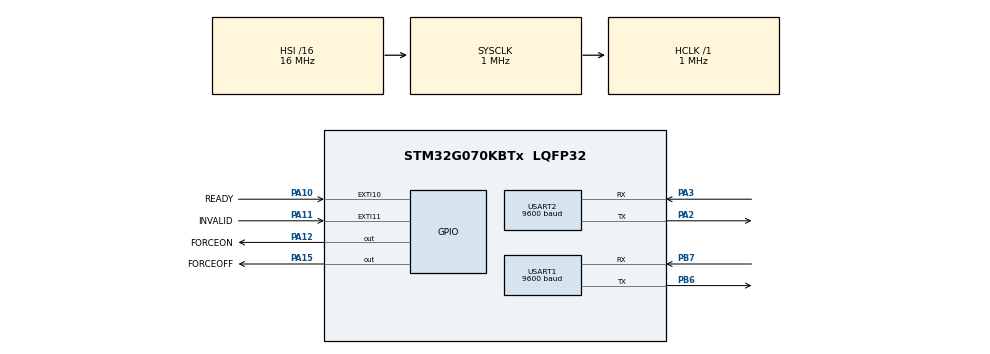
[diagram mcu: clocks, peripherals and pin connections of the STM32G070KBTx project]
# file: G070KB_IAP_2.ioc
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Mcu.Family=STM32G0
USART2.RXFIFOThreshold=RXFIFO_THRESHOLD_1EIGHTHFULL
RCC.CortexFreq_Value=1000000
PA11\ [PA9].GPIO_Label=INVALID
USART1.BaudRate=9600
PA12\ [PA10].GPIO_Label=FORCEON
USART1.WordLength=WORDLENGTH_8B
USART2.Parity=PARITY_NONE
PA14-BOOT0.Mode=Serial_Wire
RCC.EXTERNAL_CLOCK_VALUE=48000
USART2.BaudRate=9600
ProjectManager.StackSize=0x400
USART1.VirtualMode-Asynchronous=VM_ASYNC
PA3.Mode=Asynchronous
PA13.Signal=SYS_SWDIO
CRC.DefaultPolynomialUse=DEFAULT_POLYNOMIAL_DISABLE
PA15.GPIO_Label=FORCEOFF
USART1.StopBits=STOPBITS_1
ProjectManager.TargetToolchain=STM32CubeIDE
RCC.HCLKFreq_Value=1000000
PA12\ [PA10].Signal=GPIO_Output
USART1.Parity=PARITY_NONE
PB6.Signal=USART1_TX
PB6.Mode=Asynchronous
RCC.LSE_VALUE=32768
RCC.AHBFreq_Value=1000000
PA14-BOOT0.Signal=SYS_SWCLK
RCC.HSE_VALUE=8000000
board=custom
USART2.VirtualMode-Asynchronous=VM_ASYNC
RCC.VCOOutputFreq_Value=128000000
PA15.PinState=GPIO_PIN_RESET
USART2.StopBits=STOPBITS_1
RCC.ADCFreq_Value=1000000
PA10.GPIO_Label=READY
VP_SYS_VS_DBSignals.Mode=DisableDeadBatterySignals
PB7.Signal=USART1_RX
PA13.Mode=Serial_Wire
Mcu.Name=STM32G070KBTx
PA11\ [PA9].Signal=GPXTI11
PA2.Signal=USART2_TX
USART2.FIFOMode=FIFOMODE_DISABLE
RCC.SYSCLKFreq_VALUE=1000000
Mcu.Package=LQFP32
CRC.DefaultInitValueUse=DEFAULT_INIT_VALUE_DISABLE
PA12\ [PA10].PinState=GPIO_PIN_RESET
PB7.Mode=Asynchronous
PA10.Signal=GPXTI10
PA15.Signal=GPIO_Output
ProjectManager.HeapSize=0x200
USART2.WordLength=WORDLENGTH_8B
RCC.HSI_VALUE=16000000
PA2.Mode=Asynchronous
VP_CRC_VS_CRC.Mode=CRC_Activate
RCC.HSISYSCLKDivider=RCC_HSI_DIV16
PA3.Signal=USART2_RX
CRC.CRCLength=CRC_POLYLENGTH_16B

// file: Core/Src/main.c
/* USER CODE BEGIN Header */
/**
  ******************************************************************************
  * @file           : main.c
  * @brief          : Main program body
  ******************************************************************************
  * @attention
  *
  * <h2><center>&copy; Copyright (c) 2020 STMicroelectronics.
  * All rights reserved.</center></h2>
  *
  * This software component is licensed by ST under BSD 3-Clause license,
  * the "License"; You may not use this file except in compliance with the
  * License. You may obtain a copy of the License at:
  *                        opensource.org/licenses/BSD-3-Clause
  *
  ******************************************************************************
  */
/* USER CODE END Header */
#include "main.h"

/* USER CODE BEGIN Includes */
#include "common.h"
#include "flash_if.h"
#include "menu.h"
#include "ymodem.h"
#include "stdio.h"
/* USER CODE END Includes */

/* USER CODE BEGIN PTD */
  const volatile uint8_t *userConfig=(const volatile uint8_t *)0x08008000;
  uint64_t fdata=0;
/* USER CODE END PTD */

/* USER CODE BEGIN PD */
#define CRC_POLYNOMIAL_8B  0x9B   /* X^8 + X^7 + X^4 + X^3 + X + 1 */
#define CRC_POLYNOMIAL_16B 0x1021 /* X^16 + X^12 + X^5 + 1 */
/* USER CODE END PD */

CRC_HandleTypeDef hcrc;

UART_HandleTypeDef huart1;
UART_HandleTypeDef huart2;

void SystemClock_Config(void);
static void MX_GPIO_Init(void);
static void MX_USART1_UART_Init(void);
static void MX_USART2_UART_Init(void);
static void MX_CRC_Init(void);

/* USER CODE BEGIN 0 */
void flash_write(uint32_t Raddress, uint64_t data)
{
	HAL_FLASH_Unlock();
    HAL_FLASH_Program(TYPEPROGRAM_DOUBLEWORD, Raddress , (uint64_t)data);
    HAL_FLASH_Lock();
}

void flash_page_erase(uint32_t page)
{

	HAL_StatusTypeDef test = HAL_FLASH_Unlock();

	test = FLASH_WaitForLastOperation(1000); //1s timeout
	__HAL_FLASH_CLEAR_FLAG(FLASH_FLAG_EOP | FLASH_FLAG_WRPERR | FLASH_FLAG_PGAERR);
	FLASH_PageErase(0U,page);
	test = FLASH_WaitForLastOperation(1000);
	CLEAR_BIT(FLASH->CR, FLASH_CR_PER);

	HAL_FLASH_Lock();
}

static void MX_CRC_Init2(void)
{

  /* USER CODE BEGIN CRC_Init 0 */

  /* USER CODE END CRC_Init 0 */

  /* USER CODE BEGIN CRC_Init 1 */

  /* USER CODE END CRC_Init 1 */
  hcrc.Instance = CRC;
  hcrc.Init.DefaultPolynomialUse = DEFAULT_POLYNOMIAL_DISABLE;
  hcrc.Init.DefaultInitValueUse = DEFAULT_INIT_VALUE_DISABLE;
  hcrc.Init.GeneratingPolynomial = 0x1021;
  hcrc.Init.CRCLength = CRC_POLYLENGTH_16B;
  hcrc.Init.InitValue = 0;
  hcrc.Init.InputDataInversionMode = CRC_INPUTDATA_INVERSION_NONE;
  hcrc.Init.OutputDataInversionMode = CRC_OUTPUTDATA_INVERSION_DISABLE;
  hcrc.InputDataFormat = CRC_INPUTDATA_FORMAT_BYTES;
  if (HAL_CRC_Init(&hcrc) != HAL_OK)
  {
    Error_Handler();
  }
  /* USER CODE BEGIN CRC_Init 2 */

  /* USER CODE END CRC_Init 2 */

}

/* USER CODE END 0 */

int main(void)
{

  /* MCU Configuration--------------------------------------------------------*/

  /* Reset of all peripherals, Initializes the Flash interface and the Systick. */
  HAL_Init();

  /* USER CODE BEGIN Init */
  HAL_Delay(500);	//delay 0.5 second reset all hardware again
  HAL_Init();		//reset all again
  /* USER CODE END Init */

  /* Configure the system clock */
  SystemClock_Config();

  /* Initialize all configured peripherals */
  MX_GPIO_Init();
  MX_USART1_UART_Init();
  MX_USART2_UART_Init();
  MX_CRC_Init();
  /* USER CODE BEGIN 2 */
  MX_CRC_Init2();
//	Flexi_Init();				//timer off
  /* USER CODE END 2 */

  /* Infinite loop */
  /* USER CODE BEGIN WHILE */
	char temp[]="IAP progam start!\r\n";

	//HAL_GPIO_WritePin(FORCEOFF_GPIO_Port, FORCEOFF_Pin, GPIO_PIN_SET);
    //HAL_GPIO_WritePin(FORCEON_GPIO_Port, FORCEON_Pin, GPIO_PIN_SET);
    //while(!HAL_GPIO_ReadPin(READY_GPIO_Port,READY_Pin));
	//HAL_UART_Transmit(&huart2,temp,strlen(temp),20);
    //HAL_GPIO_WritePin(FORCEOFF_GPIO_Port, FORCEOFF_Pin, GPIO_PIN_RESET);
    //HAL_GPIO_WritePin(FORCEON_GPIO_Port, FORCEON_Pin, GPIO_PIN_RESET);

	/* Initialise Flash */
	FLASH_If_Init();
	/* Display main menu */
	Main_Menu ();
  while (1)
  {
    /* USER CODE END WHILE */

    /* USER CODE BEGIN 3 */
		//char temp[]="IAP progam start!\r\n";
	    HAL_GPIO_WritePin(FORCEOFF_GPIO_Port, FORCEOFF_Pin, GPIO_PIN_SET);
	    HAL_GPIO_WritePin(FORCEON_GPIO_Port, FORCEON_Pin, GPIO_PIN_SET);
	    while(!HAL_GPIO_ReadPin(READY_GPIO_Port,READY_Pin));
		HAL_UART_Transmit(&huart2,temp,strlen(temp),100);
	    HAL_GPIO_WritePin(FORCEOFF_GPIO_Port, FORCEOFF_Pin, GPIO_PIN_RESET);
		HAL_GPIO_WritePin(FORCEON_GPIO_Port, FORCEON_Pin, GPIO_PIN_RESET);
		HAL_Delay(1000);
  }
  /* USER CODE END 3 */
}

void SystemClock_Config(void)
{
  RCC_OscInitTypeDef RCC_OscInitStruct = {0};
  RCC_ClkInitTypeDef RCC_ClkInitStruct = {0};
  RCC_PeriphCLKInitTypeDef PeriphClkInit = {0};

  /** Configure the main internal regulator output voltage
  */
  HAL_PWREx_ControlVoltageScaling(PWR_REGULATOR_VOLTAGE_SCALE1);
  /** Initializes the RCC Oscillators according to the specified parameters
  * in the RCC_OscInitTypeDef structure.
  */
  RCC_OscInitStruct.OscillatorType = RCC_OSCILLATORTYPE_HSI;
  RCC_OscInitStruct.HSIState = RCC_HSI_ON;
  RCC_OscInitStruct.HSIDiv = RCC_HSI_DIV16;
  RCC_OscInitStruct.HSICalibrationValue = RCC_HSICALIBRATION_DEFAULT;
  RCC_OscInitStruct.PLL.PLLState = RCC_PLL_NONE;
  if (HAL_RCC_OscConfig(&RCC_OscInitStruct) != HAL_OK)
  {
    Error_Handler();
  }
  /** Initializes the CPU, AHB and APB buses clocks
  */
  RCC_ClkInitStruct.ClockType = RCC_CLOCKTYPE_HCLK|RCC_CLOCKTYPE_SYSCLK
                              |RCC_CLOCKTYPE_PCLK1;
  RCC_ClkInitStruct.SYSCLKSource = RCC_SYSCLKSOURCE_HSI;
  RCC_ClkInitStruct.AHBCLKDivider = RCC_SYSCLK_DIV1;
  RCC_ClkInitStruct.APB1CLKDivider = RCC_HCLK_DIV1;

  if (HAL_RCC_ClockConfig(&RCC_ClkInitStruct, FLASH_LATENCY_0) != HAL_OK)
  {
    Error_Handler();
  }
  /** Initializes the peripherals clocks
  */
  PeriphClkInit.PeriphClockSelection = RCC_PERIPHCLK_USART1|RCC_PERIPHCLK_USART2;
  PeriphClkInit.Usart1ClockSelection = RCC_USART1CLKSOURCE_PCLK1;
  PeriphClkInit.Usart2ClockSelection = RCC_USART2CLKSOURCE_PCLK1;
  if (HAL_RCCEx_PeriphCLKConfig(&PeriphClkInit) != HAL_OK)
  {
    Error_Handler();
  }
}

static void MX_CRC_Init(void)
{

  hcrc.Instance = CRC;
  hcrc.Init.DefaultPolynomialUse = DEFAULT_POLYNOMIAL_DISABLE;
  hcrc.Init.DefaultInitValueUse = DEFAULT_INIT_VALUE_DISABLE;
  hcrc.Init.GeneratingPolynomial = 7;
  hcrc.Init.CRCLength = CRC_POLYLENGTH_16B;
  hcrc.Init.InitValue = 0;
  hcrc.Init.InputDataInversionMode = CRC_INPUTDATA_INVERSION_NONE;
  hcrc.Init.OutputDataInversionMode = CRC_OUTPUTDATA_INVERSION_DISABLE;
  hcrc.InputDataFormat = CRC_INPUTDATA_FORMAT_BYTES;
  if (HAL_CRC_Init(&hcrc) != HAL_OK)
  {
    Error_Handler();
  }

}

static void MX_USART1_UART_Init(void)
{

  huart1.Instance = USART1;
  huart1.Init.BaudRate = 9600;
  huart1.Init.WordLength = UART_WORDLENGTH_8B;
  huart1.Init.StopBits = UART_STOPBITS_1;
  huart1.Init.Parity = UART_PARITY_NONE;
  huart1.Init.Mode = UART_MODE_TX_RX;
  huart1.Init.HwFlowCtl = UART_HWCONTROL_NONE;
  huart1.Init.OverSampling = UART_OVERSAMPLING_16;
  huart1.Init.OneBitSampling = UART_ONE_BIT_SAMPLE_DISABLE;
  huart1.Init.ClockPrescaler = UART_PRESCALER_DIV1;
  huart1.AdvancedInit.AdvFeatureInit = UART_ADVFEATURE_NO_INIT;
  if (HAL_UART_Init(&huart1) != HAL_OK)
  {
    Error_Handler();
  }
  if (HAL_UARTEx_SetTxFifoThreshold(&huart1, UART_TXFIFO_THRESHOLD_1_8) != HAL_OK)
  {
    Error_Handler();
  }
  if (HAL_UARTEx_SetRxFifoThreshold(&huart1, UART_RXFIFO_THRESHOLD_1_8) != HAL_OK)
  {
    Error_Handler();
  }
  if (HAL_UARTEx_DisableFifoMode(&huart1) != HAL_OK)
  {
    Error_Handler();
  }

}

static void MX_USART2_UART_Init(void)
{

  huart2.Instance = USART2;
  huart2.Init.BaudRate = 9600;
  huart2.Init.WordLength = UART_WORDLENGTH_8B;
  huart2.Init.StopBits = UART_STOPBITS_1;
  huart2.Init.Parity = UART_PARITY_NONE;
  huart2.Init.Mode = UART_MODE_TX_RX;
  huart2.Init.HwFlowCtl = UART_HWCONTROL_NONE;
  huart2.Init.OverSampling = UART_OVERSAMPLING_16;
  huart2.Init.OneBitSampling = UART_ONE_BIT_SAMPLE_DISABLE;
  huart2.Init.ClockPrescaler = UART_PRESCALER_DIV1;
  huart2.AdvancedInit.AdvFeatureInit = UART_ADVFEATURE_NO_INIT;
  if (HAL_UART_Init(&huart2) != HAL_OK)
  {
    Error_Handler();
  }
  if (HAL_UARTEx_SetTxFifoThreshold(&huart2, UART_TXFIFO_THRESHOLD_1_8) != HAL_OK)
  {
    Error_Handler();
  }
  if (HAL_UARTEx_SetRxFifoThreshold(&huart2, UART_RXFIFO_THRESHOLD_1_8) != HAL_OK)
  {
    Error_Handler();
  }
  if (HAL_UARTEx_DisableFifoMode(&huart2) != HAL_OK)
  {
    Error_Handler();
  }

}

static void MX_GPIO_Init(void)
{
  GPIO_InitTypeDef GPIO_InitStruct = {0};

  /* GPIO Ports Clock Enable */
  __HAL_RCC_GPIOA_CLK_ENABLE();
  __HAL_RCC_GPIOB_CLK_ENABLE();

  /*Configure GPIO pin Output Level */
  HAL_GPIO_WritePin(GPIOA, FORCEON_Pin|FORCEOFF_Pin, GPIO_PIN_RESET);

  /*Configure GPIO pins : READY_Pin INVALID_Pin */
  GPIO_InitStruct.Pin = READY_Pin|INVALID_Pin;
  GPIO_InitStruct.Mode = GPIO_MODE_IT_RISING;
  GPIO_InitStruct.Pull = GPIO_NOPULL;
  HAL_GPIO_Init(GPIOA, &GPIO_InitStruct);

  /*Configure GPIO pins : FORCEON_Pin FORCEOFF_Pin */
  GPIO_InitStruct.Pin = FORCEON_Pin|FORCEOFF_Pin;
  GPIO_InitStruct.Mode = GPIO_MODE_OUTPUT_PP;
  GPIO_InitStruct.Pull = GPIO_NOPULL;
  GPIO_InitStruct.Speed = GPIO_SPEED_FREQ_LOW;
  HAL_GPIO_Init(GPIOA, &GPIO_InitStruct);

}

void Error_Handler(void)
{
  /* USER CODE BEGIN Error_Handler_Debug */
  /* User can add his own implementation to report the HAL error return state */
	HAL_Delay(100);
	NVIC_SystemReset();
  /* USER CODE END Error_Handler_Debug */
}

/************************ (C) COPYRIGHT STMicroelectronics *****END OF FILE****/
